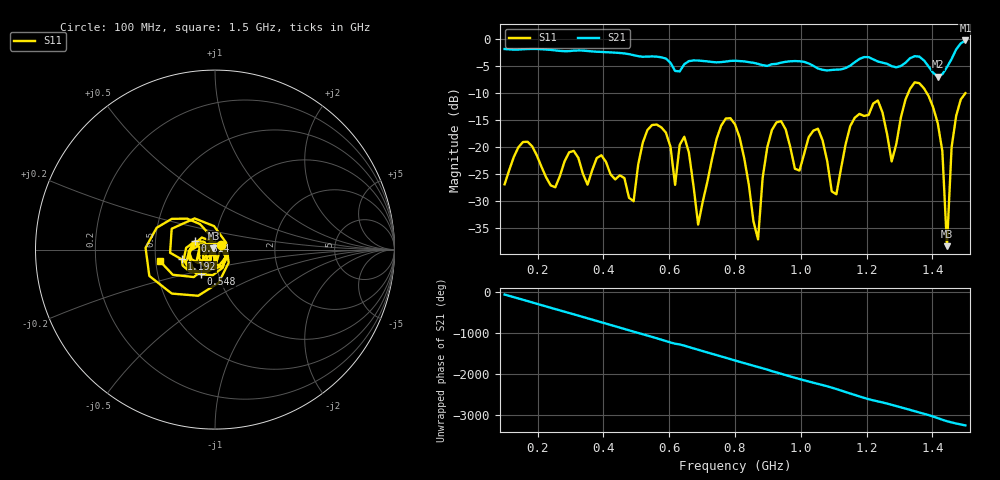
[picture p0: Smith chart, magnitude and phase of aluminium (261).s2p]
! NanoVNA-App
! Date: 2025-09-25 14:57:18
! Start: 100MHz Stop: 1,5GHz Points: 101
! S-Parameter data: F S11 S21 S12 S22
# Hz S RI R 50
!  Frequency  S11_Real  S11_Imag  S21_Real  S21_Imag  S12_Real  S12_Imag  S22_Real  S22_Imag
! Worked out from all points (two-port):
!   101 points, 100 MHz to 1.5 GHz, reference 50 ohm
!   highest |S21| = -0.34 dB at 1.5 GHz (marker M1); lowest = -7.0 dB at 1.416 GHz (marker M2)
!   |S21| within 3 dB of the highest: start of sweep to 517.7 MHz; 527.7 MHz to 563.4 MHz (35.67 MHz wide, 6.54 % of centre) (the widest 2 of 4)
!   lowest |S11| = -38.4 dB at 1.444 GHz (marker M3), VSWR 1.02, Z = 49.1 + j0.796 ohm
!   |S11| at or under -10 dB: start of sweep to 1.327 GHz; 1.382 GHz to end of sweep
!   S12 and S22 are empty: the file has one direction only
!   S11 on the Smith chart (normalised r, x): 100 MHz: 1.07, +0.06; 548 MHz: 0.82, -0.23; 814 MHz: 0.79, +0.07; 1.192 GHz: 0.68, -0.07; 1.5 GHz: 0.53, -0.08
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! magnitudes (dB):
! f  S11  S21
! 100 MHz  -27.0  -1.9
! 338 MHz  -25.0  -2.2
! 492 MHz  -30.1  -3.1
! 548 MHz  -16.0  -3.3
! 576 MHz  -16.4  -3.5
! 618 MHz  -27.1  -6.0
! 646 MHz  -18.2  -4.7
! 688 MHz  -34.4  -4.1
! 800 MHz  -15.9  -4.1
! 814 MHz  -18.3  -4.2
! 870 MHz  -37.2  -4.7
! 912 MHz  -16.9  -4.7
! 996 MHz  -24.4  -4.2
! 1.038 GHz  -17.0  -5.0
! 1.108 GHz  -28.8  -5.7
! 1.192 GHz  -14.3  -3.4
! 1.276 GHz  -22.7  -5.1
! 1.346 GHz  -8.1  -3.3
! 1.416 GHz  -15.6  -7.0
! 1.444 GHz  -38.4  -5.3
! 1.458 GHz  -20.2  -3.8
! 1.5 GHz  -10.1  -0.3
